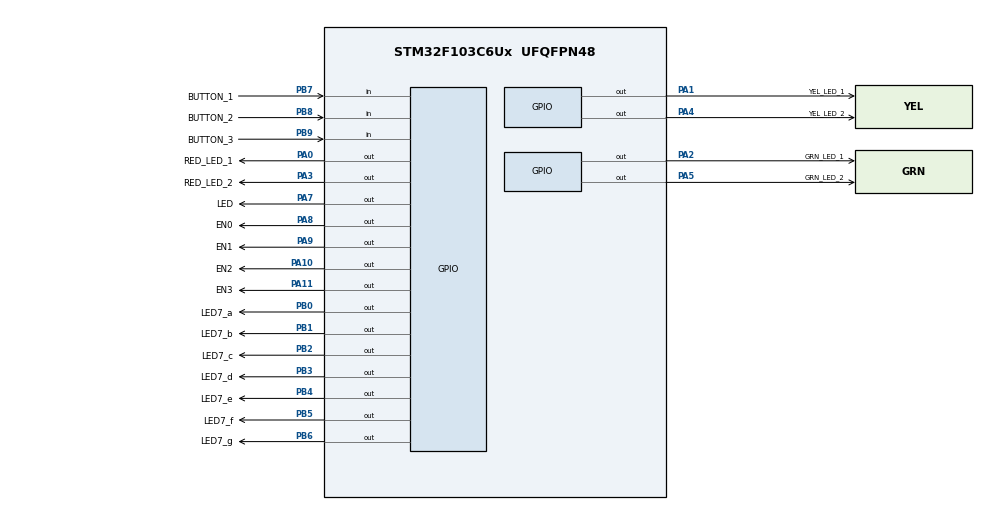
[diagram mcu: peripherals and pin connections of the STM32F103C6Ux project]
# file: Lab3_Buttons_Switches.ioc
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Mcu.Family=STM32F1
Mcu.Name=STM32F103C6Ux
Mcu.Package=UFQFPN48
NVIC.PriorityGroup=NVIC_PRIORITYGROUP_4
NVIC.TIM2_IRQn=true\:0\:0\:false\:false\:true\:true\:true\:true
PA0-WKUP.GPIO_Label=RED_LED_1
PA0-WKUP.Signal=GPIO_Output
PA1.GPIO_Label=YEL_LED_1
PA1.Signal=GPIO_Output
PA10.GPIO_Label=EN2
PA10.Signal=GPIO_Output
PA11.GPIO_Label=EN3
PA11.Signal=GPIO_Output
PA2.GPIO_Label=GRN_LED_1
PA2.Signal=GPIO_Output
PA3.GPIO_Label=RED_LED_2
PA3.Signal=GPIO_Output
PA4.GPIO_Label=YEL_LED_2
PA4.Signal=GPIO_Output
PA5.GPIO_Label=GRN_LED_2
PA5.Signal=GPIO_Output
PA7.GPIO_Label=LED
PA7.Signal=GPIO_Output
PA8.GPIO_Label=EN0
PA8.Signal=GPIO_Output
PA9.GPIO_Label=EN1
PA9.Signal=GPIO_Output
PB0.GPIO_Label=LED7_a
PB0.Signal=GPIO_Output
PB1.GPIO_Label=LED7_b
PB1.Signal=GPIO_Output
PB2.GPIO_Label=LED7_c
PB2.Signal=GPIO_Output
PB3.GPIO_Label=LED7_d
PB3.Signal=GPIO_Output
PB4.GPIO_Label=LED7_e
PB4.Signal=GPIO_Output
PB5.GPIO_Label=LED7_f
PB5.Signal=GPIO_Output
PB6.GPIO_Label=LED7_g
PB6.Signal=GPIO_Output
PB7.GPIO_Label=BUTTON_1
PB7.GPIO_PuPd=GPIO_PULLUP
PB7.Signal=GPIO_Input
PB8.GPIO_Label=BUTTON_2
PB8.GPIO_PuPd=GPIO_PULLUP
PB8.Signal=GPIO_Input
PB9.GPIO_Label=BUTTON_3
PB9.GPIO_PuPd=GPIO_PULLUP
PB9.Signal=GPIO_Input
ProjectManager.HeapSize=0x200
ProjectManager.StackSize=0x400
ProjectManager.TargetToolchain=STM32CubeIDE
RCC.APB1Freq_Value=8000000
RCC.APB2Freq_Value=8000000
TIM2.Period=9
TIM2.Prescaler=7999
VP_SYS_VS_ND.Mode=No_Debug
VP_TIM2_VS_ClockSourceINT.Mode=Internal
board=custom

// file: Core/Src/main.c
/* USER CODE BEGIN Header */
/**
  ******************************************************************************
  * @file           : main.c
  * @brief          : Main program body
  ******************************************************************************
  * @attention
  *
  * Copyright (c) 2025 STMicroelectronics.
  * All rights reserved.
  *
  * This software is licensed under terms that can be found in the LICENSE file
  * in the root directory of this software component.
  * If no LICENSE file comes with this software, it is provided AS-IS.
  *
  ******************************************************************************
  */
/* USER CODE END Header */
#include "main.h"

/* USER CODE BEGIN Includes */
#include "software_timer.h"
#include "button.h"
#include "global.h"
#include "fsm_automatic.h"
#include "fsm_manual.h"
#include "fsm_config.h"
/* USER CODE END Includes */

TIM_HandleTypeDef htim2;

void SystemClock_Config(void);
static void MX_GPIO_Init(void);
static void MX_TIM2_Init(void);
/* USER CODE BEGIN PFP */
void init_system(void);
/* USER CODE END PFP */

int main(void)
{

  /* MCU Configuration--------------------------------------------------------*/

  /* Reset of all peripherals, Initializes the Flash interface and the Systick. */
  HAL_Init();

  /* Configure the system clock */
  SystemClock_Config();

  /* Initialize all configured peripherals */
  MX_GPIO_Init();
  MX_TIM2_Init();
  /* USER CODE BEGIN 2 */
  init_system();
  /* USER CODE END 2 */

  /* Infinite loop */
  /* USER CODE BEGIN WHILE */
  while (1)
  {
//	  if (isTimerExpired(5) == 1) {
//		  setTimer(5, 1000);
//		  HAL_GPIO_TogglePin(LED_GPIO_Port, LED_Pin);
//	  }
//	  if (isButtonLongPressed(0) == 1) {
//		  HAL_GPIO_TogglePin(LED_GPIO_Port, LED_Pin);
//	  }
	  FSM_Automatic_Run();
	  FSM_Manual_Run();
	  FSM_Config_Run();
    /* USER CODE END WHILE */

  }
}

void SystemClock_Config(void)
{
  RCC_OscInitTypeDef RCC_OscInitStruct = {0};
  RCC_ClkInitTypeDef RCC_ClkInitStruct = {0};

  /** Initializes the RCC Oscillators according to the specified parameters
  * in the RCC_OscInitTypeDef structure.
  */
  RCC_OscInitStruct.OscillatorType = RCC_OSCILLATORTYPE_HSI;
  RCC_OscInitStruct.HSIState = RCC_HSI_ON;
  RCC_OscInitStruct.HSICalibrationValue = RCC_HSICALIBRATION_DEFAULT;
  RCC_OscInitStruct.PLL.PLLState = RCC_PLL_NONE;
  if (HAL_RCC_OscConfig(&RCC_OscInitStruct) != HAL_OK)
  {
    Error_Handler();
  }

  /** Initializes the CPU, AHB and APB buses clocks
  */
  RCC_ClkInitStruct.ClockType = RCC_CLOCKTYPE_HCLK|RCC_CLOCKTYPE_SYSCLK
                              |RCC_CLOCKTYPE_PCLK1|RCC_CLOCKTYPE_PCLK2;
  RCC_ClkInitStruct.SYSCLKSource = RCC_SYSCLKSOURCE_HSI;
  RCC_ClkInitStruct.AHBCLKDivider = RCC_SYSCLK_DIV1;
  RCC_ClkInitStruct.APB1CLKDivider = RCC_HCLK_DIV1;
  RCC_ClkInitStruct.APB2CLKDivider = RCC_HCLK_DIV1;

  if (HAL_RCC_ClockConfig(&RCC_ClkInitStruct, FLASH_LATENCY_0) != HAL_OK)
  {
    Error_Handler();
  }
}

static void MX_TIM2_Init(void)
{

  TIM_ClockConfigTypeDef sClockSourceConfig = {0};
  TIM_MasterConfigTypeDef sMasterConfig = {0};

  htim2.Instance = TIM2;
  htim2.Init.Prescaler = 7999;
  htim2.Init.CounterMode = TIM_COUNTERMODE_UP;
  htim2.Init.Period = 9;
  htim2.Init.ClockDivision = TIM_CLOCKDIVISION_DIV1;
  htim2.Init.AutoReloadPreload = TIM_AUTORELOAD_PRELOAD_DISABLE;
  if (HAL_TIM_Base_Init(&htim2) != HAL_OK)
  {
    Error_Handler();
  }
  sClockSourceConfig.ClockSource = TIM_CLOCKSOURCE_INTERNAL;
  if (HAL_TIM_ConfigClockSource(&htim2, &sClockSourceConfig) != HAL_OK)
  {
    Error_Handler();
  }
  sMasterConfig.MasterOutputTrigger = TIM_TRGO_RESET;
  sMasterConfig.MasterSlaveMode = TIM_MASTERSLAVEMODE_DISABLE;
  if (HAL_TIMEx_MasterConfigSynchronization(&htim2, &sMasterConfig) != HAL_OK)
  {
    Error_Handler();
  }

}

static void MX_GPIO_Init(void)
{
  GPIO_InitTypeDef GPIO_InitStruct = {0};

  /* GPIO Ports Clock Enable */
  __HAL_RCC_GPIOA_CLK_ENABLE();
  __HAL_RCC_GPIOB_CLK_ENABLE();

  /*Configure GPIO pin Output Level */
  HAL_GPIO_WritePin(GPIOA, RED_LED_1_Pin|YEL_LED_1_Pin|GRN_LED_1_Pin|RED_LED_2_Pin
                          |YEL_LED_2_Pin|GRN_LED_2_Pin|LED_Pin|EN0_Pin
                          |EN1_Pin|EN2_Pin|EN3_Pin, GPIO_PIN_RESET);

  /*Configure GPIO pin Output Level */
  HAL_GPIO_WritePin(GPIOB, LED7_a_Pin|LED7_b_Pin|LED7_c_Pin|LED7_d_Pin
                          |LED7_e_Pin|LED7_f_Pin|LED7_g_Pin, GPIO_PIN_RESET);

  /*Configure GPIO pins : RED_LED_1_Pin YEL_LED_1_Pin GRN_LED_1_Pin RED_LED_2_Pin
                           YEL_LED_2_Pin GRN_LED_2_Pin LED_Pin EN0_Pin
                           EN1_Pin EN2_Pin EN3_Pin */
  GPIO_InitStruct.Pin = RED_LED_1_Pin|YEL_LED_1_Pin|GRN_LED_1_Pin|RED_LED_2_Pin
                          |YEL_LED_2_Pin|GRN_LED_2_Pin|LED_Pin|EN0_Pin
                          |EN1_Pin|EN2_Pin|EN3_Pin;
  GPIO_InitStruct.Mode = GPIO_MODE_OUTPUT_PP;
  GPIO_InitStruct.Pull = GPIO_NOPULL;
  GPIO_InitStruct.Speed = GPIO_SPEED_FREQ_LOW;
  HAL_GPIO_Init(GPIOA, &GPIO_InitStruct);

  /*Configure GPIO pins : LED7_a_Pin LED7_b_Pin LED7_c_Pin LED7_d_Pin
                           LED7_e_Pin LED7_f_Pin LED7_g_Pin */
  GPIO_InitStruct.Pin = LED7_a_Pin|LED7_b_Pin|LED7_c_Pin|LED7_d_Pin
                          |LED7_e_Pin|LED7_f_Pin|LED7_g_Pin;
  GPIO_InitStruct.Mode = GPIO_MODE_OUTPUT_PP;
  GPIO_InitStruct.Pull = GPIO_NOPULL;
  GPIO_InitStruct.Speed = GPIO_SPEED_FREQ_LOW;
  HAL_GPIO_Init(GPIOB, &GPIO_InitStruct);

  /*Configure GPIO pins : BUTTON_1_Pin BUTTON_2_Pin BUTTON_3_Pin */
  GPIO_InitStruct.Pin = BUTTON_1_Pin|BUTTON_2_Pin|BUTTON_3_Pin;
  GPIO_InitStruct.Mode = GPIO_MODE_INPUT;
  GPIO_InitStruct.Pull = GPIO_PULLUP;
  HAL_GPIO_Init(GPIOB, &GPIO_InitStruct);

}

/* USER CODE BEGIN 4 */
void init_system(void) {
	HAL_TIM_Base_Start_IT(&htim2);
	clear7SEG();
	HAL_GPIO_WritePin(GPIOA, GPIO_PIN_All, SET);
	status = INIT_AUTO;
	setTimer(3, 500);
	setTimer(4, 1000);
	setTimer(5, 1000);
}

void HAL_TIM_PeriodElapsedCallback(TIM_HandleTypeDef *htim) {
	timerRun();
	getKeyInput();
}
/* USER CODE END 4 */

void Error_Handler(void)
{
  __disable_irq();
  while (1)
  {
  }
}
